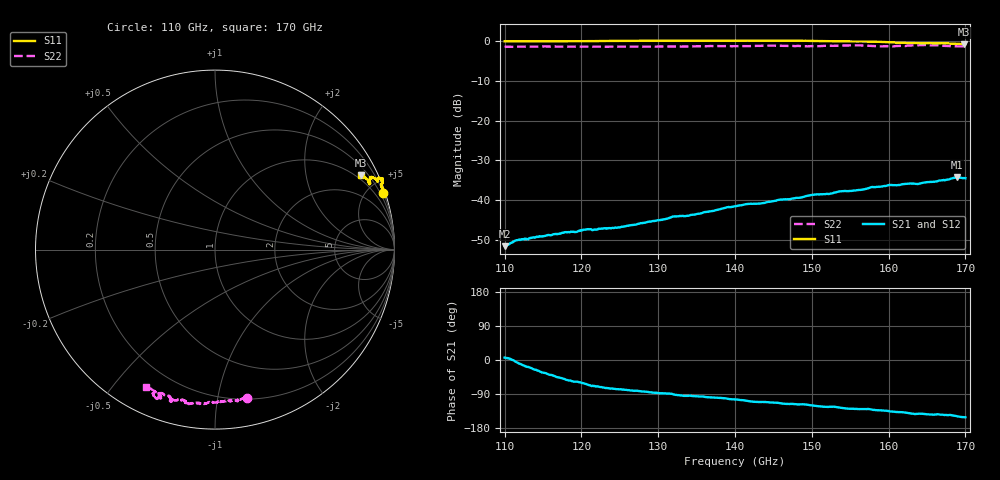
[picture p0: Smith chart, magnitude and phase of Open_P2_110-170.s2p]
!Keysight Technologies,N5247B,MY61256062,A.16.20.04
!Date: Wednesday, November 26, 2025 07:16:42
!Correction: S11(C  2-Port  )
!S21(C  2-Port  )
!S12(C  2-Port  )
!S22(C  2-Port  )
!S2P File: Measurements: S11, S21, S12, S22:
# Hz S  RI  R 50
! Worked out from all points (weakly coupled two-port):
!   1471 points, 110 GHz to 170 GHz, reference 50 ohm
!   highest |S21| = -34.29 dB at 168.9 GHz (marker M1); lowest = -51.6 dB at 110 GHz (marker M2)
!   lowest |S11| = -0.8 dB at 169.8 GHz (marker M3), VSWR 21.23, Z = 41.6 + j200 ohm
!   |S11| at or under -10 dB: nowhere
!   |S22| runs from -1.5 to -1.0 dB; largest |S21 - S12| = 0.001
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1.1e11  0.9377 0.3138  0.00263 0.000291  0.00263 0.000349  0.1775 -0.8284
1.116327e11  0.9344 0.3185  0.00312 -0.000362  0.00314 -0.00035  0.1471 -0.8337
1.2e11  0.9291 0.3507  0.00208 -0.00365  0.00209 -0.00366  0.0887 -0.8425
1.248163e11  0.93 0.3657  0.000988 -0.00443  0.00101 -0.00444  0.0486 -0.8456
1.3e11  0.9314 0.3788  0.000245 -0.00558  0.000294 -0.00557  0.0125 -0.8496
1.319592e11  0.9274 0.3853  -8.24e-05 -0.00624  -2.1e-05 -0.0062  -0.0111 -0.8504
1.337959e11  0.9294 0.3915  -0.000501 -0.00637  -0.000445 -0.00638  -0.0291 -0.8515
1.4e11  0.9321 0.396  -0.00206 -0.00812  -0.00206 -0.00815  -0.0964 -0.8544
1.451429e11  0.9289 0.394  -0.00376 -0.00906  -0.00371 -0.00906  -0.157 -0.8573
1.487347e11  0.9219 0.3957  -0.00487 -0.00975  -0.00489 -0.00966  -0.166 -0.8427
1.5e11  0.9183 0.3952  -0.00579 -0.0101  -0.00568 -0.0102  -0.1883 -0.8395
1.531837e11  0.9043 0.3917  -0.00701 -0.0104  -0.00682 -0.0106  -0.2413 -0.8361
1.562041e11  0.9052 0.3815  -0.00853 -0.0104  -0.00837 -0.0105  -0.2451 -0.847
1.580408e11  0.8963 0.3931  -0.00967 -0.0109  -0.00952 -0.011  -0.2455 -0.8268
1.6e11  0.8753 0.4015  -0.0109 -0.011  -0.0105 -0.0114  -0.2805 -0.8114
1.625306e11  0.8583 0.3845  -0.0123 -0.0104  -0.012 -0.0108  -0.3471 -0.8023
1.637551e11  0.8635 0.3747  -0.0126 -0.00981  -0.0123 -0.0101  -0.3404 -0.8122
1.647755e11  0.8604 0.3632  -0.0133 -0.0101  -0.0131 -0.0103  -0.3292 -0.8282
1.667755e11  0.8541 0.3866  -0.0143 -0.0104  -0.0143 -0.0104  -0.3031 -0.8189
1.689388e11  0.8195 0.4138  -0.0165 -0.0101  -0.0159 -0.0107  -0.3441 -0.7844
1.697959e11  0.8107 0.4133  -0.0166 -0.00927  -0.0161 -0.01  -0.3797 -0.7686
1.7e11  0.8113 0.4135  -0.0165 -0.00917  -0.0161 -0.00999  -0.3846 -0.7648
